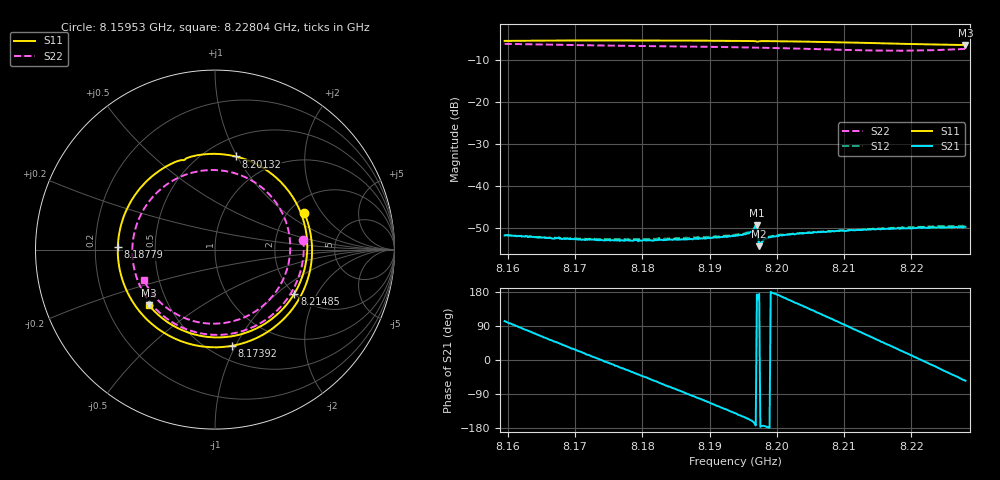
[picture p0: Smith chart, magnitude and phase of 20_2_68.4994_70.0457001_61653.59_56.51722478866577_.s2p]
#  HZ  S  RI  R  50.00
! Rohde & Schwarz Vector Network Analyzer
! Rohde-Schwarz,ZNB20-2Port,1311601062101988,3.16
! Created: UTC 3/20/2024, 5:04:38 PM
! freq[Hz]  re:S11  im:S11  re:S21  im:S21  re:S12  im:S12  re:S22  im:S22
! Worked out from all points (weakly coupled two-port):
!   401 points, 8.15953 GHz to 8.22804 GHz, reference 50 ohm
!   highest |S21| = -49.32 dB at 8.19704 GHz (marker M1); lowest = -54.3 dB at 8.19738 GHz (marker M2)
!   lowest |S11| = -6.4 dB at 8.22804 GHz (marker M3), VSWR 2.85, Z = 19.5 - j15.7 ohm
!   |S11| at or under -10 dB: nowhere
!   |S22| runs from -7.7 to -6.1 dB; largest |S21 - S12| = 0.00021
!   S11 on the Smith chart (normalised r, x): 8.15953 GHz: 2.41, +1.39; 8.17392 GHz: 0.63, -0.97; 8.18779 GHz: 0.30, +0.01; 8.20132 GHz: 0.68, +0.99; 8.21485 GHz: 2.01, -1.32; 8.22804 GHz: 0.39, -0.31
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8.159531e9  0.4971 0.2054  -0.000565 0.00252  -0.000568 0.00253  0.4928 0.0554
8.165011e9  0.5198 -0.155  0.00113 0.00215  0.00112 0.00218  0.4135 -0.2579
8.171005e9  0.2778 -0.468  0.00214 0.000802  0.00222 0.000831  0.1357 -0.4588
8.173917e9  0.0928 -0.5365  0.00229 3.12e-07  0.00232 -1.83e-05  -0.0304 -0.4735
8.178027e9  -0.1849 -0.5117  0.00197 -0.00106  0.00202 -0.00109  -0.2488 -0.398
8.18248e9  -0.4299 -0.3322  0.00115 -0.00197  0.00117 -0.00209  -0.4129 -0.2132
8.187789e9  -0.5416 0.0129  -0.000287 -0.00236  -0.000325 -0.00241  -0.4532 0.0748
8.190701e9  -0.4978 0.2107  -0.00114 -0.00217  -0.00124 -0.00218  -0.3961 0.2258
8.193783e9  -0.3747 0.3871  -0.00195 -0.00163  -0.00208 -0.00161  -0.2822 0.3531
8.196695e9  -0.1997 0.496  -0.00307 -0.000707  -0.00316 -0.000584  -0.137 0.4261
8.197037e9  -0.1752 0.4983  -0.00339 0.000432  -0.00344 0.000545  -0.1182 0.4307
8.19738e9  -0.1616 0.5073  -0.00191 0.00019  -0.00193 0.000259  -0.0996 0.4351
8.197722e9  -0.1373 0.5167  -0.00209 -0.000229  -0.00214 -0.000142  -0.0805 0.4384
8.19875e9  -0.0646 0.5305  -0.00244 -0.000101  -0.00248 1.51e-07  -0.0224 0.4434
8.201319e9  0.116 0.5187  -0.00251 0.000762  -0.00248 0.000906  0.1218 0.4219
8.205258e9  0.3574 0.3855  -0.00185 0.00207  -0.0018 0.00215  0.3105 0.2987
8.210225e9  0.5109 0.0744  -9.47e-05 0.0029  -1.57e-05 0.00294  0.4192 0.0294
8.214849e9  0.4425 -0.2447  0.0018 0.00248  0.00187 0.00246  0.3363 -0.2394
8.216733e9  0.3581 -0.3506  0.00238 0.00195  0.0025 0.00191  0.2523 -0.3249
8.219644e9  0.1801 -0.4605  0.00304 0.000824  0.00315 0.000722  0.0812 -0.4034
8.222384e9  -0.0151 -0.4885  0.00314 -0.000424  0.00324 -0.000543  -0.1003 -0.4029
8.228036e9  -0.369 -0.3082  0.00189 -0.00267  0.00182 -0.00283  -0.3961 -0.1715
